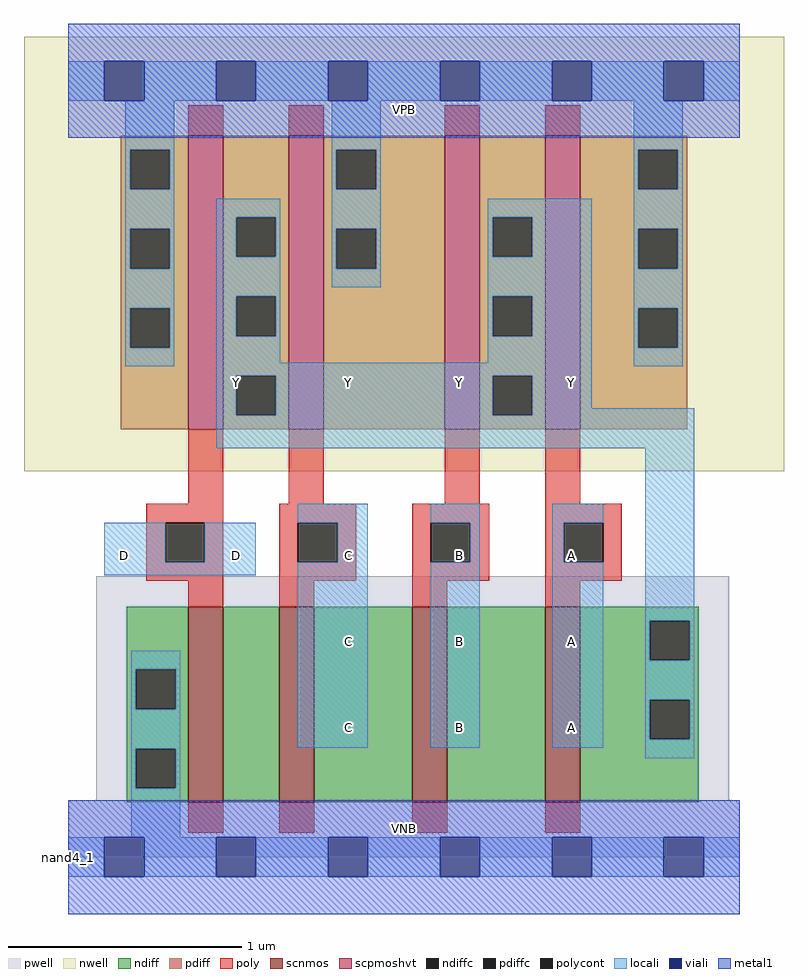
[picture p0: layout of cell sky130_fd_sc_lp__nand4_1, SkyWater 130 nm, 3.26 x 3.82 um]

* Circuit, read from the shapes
.subckt sky130_fd_sc_lp__nand4_1 A B C D VGND VNB VPB VPWR Y
XM1 n1 D VGND VNB sky130_fd_pr__nfet_01v8 w=0.84 l=0.15
XM2 n2 C n1 VNB sky130_fd_pr__nfet_01v8 w=0.84 l=0.15
XM3 n3 B n2 VNB sky130_fd_pr__nfet_01v8 w=0.84 l=0.15
XM4 Y A n3 VNB sky130_fd_pr__nfet_01v8 w=0.84 l=0.15
XM5 Y D VPWR VPB sky130_fd_pr__pfet_01v8_hvt w=1.26 l=0.15
XM6 VPWR C Y VPB sky130_fd_pr__pfet_01v8_hvt w=1.26 l=0.15
XM7 Y B VPWR VPB sky130_fd_pr__pfet_01v8_hvt w=1.26 l=0.15
XM8 VPWR A Y VPB sky130_fd_pr__pfet_01v8_hvt w=1.26 l=0.15
.ends

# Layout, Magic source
magic
tech sky130A
magscale 1 2
<< nwell >>
rect -38 331 614 704
<< pwell >>
rect 24 49 567 241
rect 0 0 576 49
<< scnmos >>
rect 103 47 133 215
rect 181 47 211 215
rect 295 47 325 215
rect 409 47 439 215
<< scpmoshvt >>
rect 103 367 133 619
rect 189 367 219 619
rect 323 367 353 619
rect 409 367 439 619
<< ndiff >>
rect 50 161 103 215
rect 50 127 58 161
rect 92 127 103 161
rect 50 93 103 127
rect 50 59 58 93
rect 92 59 103 93
rect 50 47 103 59
rect 133 47 181 215
rect 211 47 295 215
rect 325 47 409 215
rect 439 203 541 215
rect 439 169 499 203
rect 533 169 541 203
rect 439 135 541 169
rect 439 101 499 135
rect 533 101 541 135
rect 439 47 541 101
<< pdiff >>
rect 45 607 103 619
rect 45 573 53 607
rect 87 573 103 607
rect 45 539 103 573
rect 45 505 53 539
rect 87 505 103 539
rect 45 471 103 505
rect 45 437 53 471
rect 87 437 103 471
rect 45 367 103 437
rect 133 549 189 619
rect 133 515 144 549
rect 178 515 189 549
rect 133 481 189 515
rect 133 447 144 481
rect 178 447 189 481
rect 133 413 189 447
rect 133 379 144 413
rect 178 379 189 413
rect 133 367 189 379
rect 219 607 323 619
rect 219 573 230 607
rect 264 573 323 607
rect 219 539 323 573
rect 219 505 230 539
rect 264 505 323 539
rect 219 367 323 505
rect 353 549 409 619
rect 353 515 364 549
rect 398 515 409 549
rect 353 481 409 515
rect 353 447 364 481
rect 398 447 409 481
rect 353 413 409 447
rect 353 379 364 413
rect 398 379 409 413
rect 353 367 409 379
rect 439 607 531 619
rect 439 573 489 607
rect 523 573 531 607
rect 439 539 531 573
rect 439 505 489 539
rect 523 505 531 539
rect 439 471 531 505
rect 439 437 489 471
rect 523 437 531 471
rect 439 367 531 437
<< ndiffc >>
rect 58 127 92 161
rect 58 59 92 93
rect 499 169 533 203
rect 499 101 533 135
<< pdiffc >>
rect 53 573 87 607
rect 53 505 87 539
rect 53 437 87 471
rect 144 515 178 549
rect 144 447 178 481
rect 144 379 178 413
rect 230 573 264 607
rect 230 505 264 539
rect 364 515 398 549
rect 364 447 398 481
rect 364 379 398 413
rect 489 573 523 607
rect 489 505 523 539
rect 489 437 523 471
<< poly >>
rect 103 619 133 645
rect 189 619 219 645
rect 323 619 353 645
rect 409 619 439 645
rect 103 303 133 367
rect 189 303 219 367
rect 323 303 353 367
rect 409 303 439 367
rect 67 287 133 303
rect 67 253 83 287
rect 117 253 133 287
rect 67 237 133 253
rect 103 215 133 237
rect 181 287 247 303
rect 181 253 197 287
rect 231 253 247 287
rect 181 237 247 253
rect 295 287 361 303
rect 295 253 311 287
rect 345 253 361 287
rect 295 237 361 253
rect 409 287 475 303
rect 409 253 425 287
rect 459 253 475 287
rect 409 237 475 253
rect 181 215 211 237
rect 295 215 325 237
rect 409 215 439 237
rect 103 21 133 47
rect 181 21 211 47
rect 295 21 325 47
rect 409 21 439 47
<< polycont >>
rect 83 253 117 287
rect 197 253 231 287
rect 311 253 345 287
rect 425 253 459 287
<< locali >>
rect 0 649 31 683
rect 65 649 127 683
rect 161 649 223 683
rect 257 649 319 683
rect 353 649 415 683
rect 449 649 511 683
rect 545 649 576 683
rect 49 607 91 649
rect 49 573 53 607
rect 87 573 91 607
rect 49 539 91 573
rect 226 607 268 649
rect 226 573 230 607
rect 264 573 268 607
rect 49 505 53 539
rect 87 505 91 539
rect 49 471 91 505
rect 49 437 53 471
rect 87 437 91 471
rect 49 421 91 437
rect 127 549 182 565
rect 127 515 144 549
rect 178 515 182 549
rect 127 481 182 515
rect 226 539 268 573
rect 485 607 527 649
rect 485 573 489 607
rect 523 573 527 607
rect 226 505 230 539
rect 264 505 268 539
rect 226 489 268 505
rect 360 549 449 565
rect 360 515 364 549
rect 398 515 449 549
rect 127 447 144 481
rect 178 447 182 481
rect 127 424 182 447
rect 360 481 449 515
rect 360 447 364 481
rect 398 447 449 481
rect 360 424 449 447
rect 127 413 449 424
rect 485 539 527 573
rect 485 505 489 539
rect 523 505 527 539
rect 485 471 527 505
rect 485 437 489 471
rect 523 437 527 471
rect 485 421 527 437
rect 127 379 144 413
rect 178 379 364 413
rect 398 385 449 413
rect 398 379 537 385
rect 127 351 537 379
rect 197 287 257 303
rect 31 253 83 287
rect 117 253 161 287
rect 31 242 161 253
rect 231 253 257 287
rect 54 161 96 177
rect 54 127 58 161
rect 92 127 96 161
rect 54 93 96 127
rect 197 94 257 253
rect 311 287 353 303
rect 345 253 353 287
rect 311 94 353 253
rect 415 287 459 303
rect 415 253 425 287
rect 415 94 459 253
rect 495 203 537 351
rect 495 169 499 203
rect 533 169 537 203
rect 495 135 537 169
rect 495 101 499 135
rect 533 101 537 135
rect 54 59 58 93
rect 92 59 96 93
rect 495 85 537 101
rect 54 17 96 59
rect 0 -17 31 17
rect 65 -17 127 17
rect 161 -17 223 17
rect 257 -17 319 17
rect 353 -17 415 17
rect 449 -17 511 17
rect 545 -17 576 17
<< viali >>
rect 31 649 65 683
rect 127 649 161 683
rect 223 649 257 683
rect 319 649 353 683
rect 415 649 449 683
rect 511 649 545 683
rect 31 -17 65 17
rect 127 -17 161 17
rect 223 -17 257 17
rect 319 -17 353 17
rect 415 -17 449 17
rect 511 -17 545 17
<< metal1 >>
rect 0 683 576 715
rect 0 649 31 683
rect 65 649 127 683
rect 161 649 223 683
rect 257 649 319 683
rect 353 649 415 683
rect 449 649 511 683
rect 545 649 576 683
rect 0 617 576 649
rect 0 17 576 49
rect 0 -17 31 17
rect 65 -17 127 17
rect 161 -17 223 17
rect 257 -17 319 17
rect 353 -17 415 17
rect 449 -17 511 17
rect 545 -17 576 17
rect 0 -49 576 -17
<< labels >>
flabel pwell s 0 0 576 49 0 FreeSans 200 0 0 0 VNB
port 6 nsew ground bidirectional
flabel nwell s 0 617 576 666 0 FreeSans 200 0 0 0 VPB
port 7 nsew power bidirectional
rlabel comment s 0 0 0 0 4 nand4_1
flabel metal1 s 0 617 576 666 0 FreeSans 340 0 0 0 VPWR
port 8 nsew power bidirectional
flabel metal1 s 0 0 576 49 0 FreeSans 340 0 0 0 VGND
port 5 nsew ground bidirectional
flabel locali s 415 94 449 128 0 FreeSans 340 0 0 0 A
port 1 nsew signal input
flabel locali s 415 168 449 202 0 FreeSans 340 0 0 0 A
port 1 nsew signal input
flabel locali s 415 242 449 276 0 FreeSans 340 0 0 0 A
port 1 nsew signal input
flabel locali s 319 94 353 128 0 FreeSans 340 0 0 0 B
port 2 nsew signal input
flabel locali s 319 168 353 202 0 FreeSans 340 0 0 0 B
port 2 nsew signal input
flabel locali s 319 242 353 276 0 FreeSans 340 0 0 0 B
port 2 nsew signal input
flabel locali s 223 94 257 128 0 FreeSans 340 0 0 0 C
port 3 nsew signal input
flabel locali s 223 168 257 202 0 FreeSans 340 0 0 0 C
port 3 nsew signal input
flabel locali s 223 242 257 276 0 FreeSans 340 0 0 0 C
port 3 nsew signal input
flabel locali s 127 390 161 424 0 FreeSans 340 0 0 0 Y
port 9 nsew signal output
flabel locali s 223 390 257 424 0 FreeSans 340 0 0 0 Y
port 9 nsew signal output
flabel locali s 319 390 353 424 0 FreeSans 340 0 0 0 Y
port 9 nsew signal output
flabel locali s 415 390 449 424 0 FreeSans 340 0 0 0 Y
port 9 nsew signal output
flabel locali s 31 242 65 276 0 FreeSans 340 0 0 0 D
port 4 nsew signal input
flabel locali s 127 242 161 276 0 FreeSans 340 0 0 0 D
port 4 nsew signal input
<< properties >>
string LEFsite unit
string LEFclass CORE
string FIXED_BBOX 0 0 576 666
string GDS_FILE $PDKPATH/libs.ref/sky130_fd_sc_lp/gds/sky130_fd_sc_lp.gds
string LEFsymmetry X Y R90
string GDS_END 4600974
string GDS_START 4594526
<< end >>
